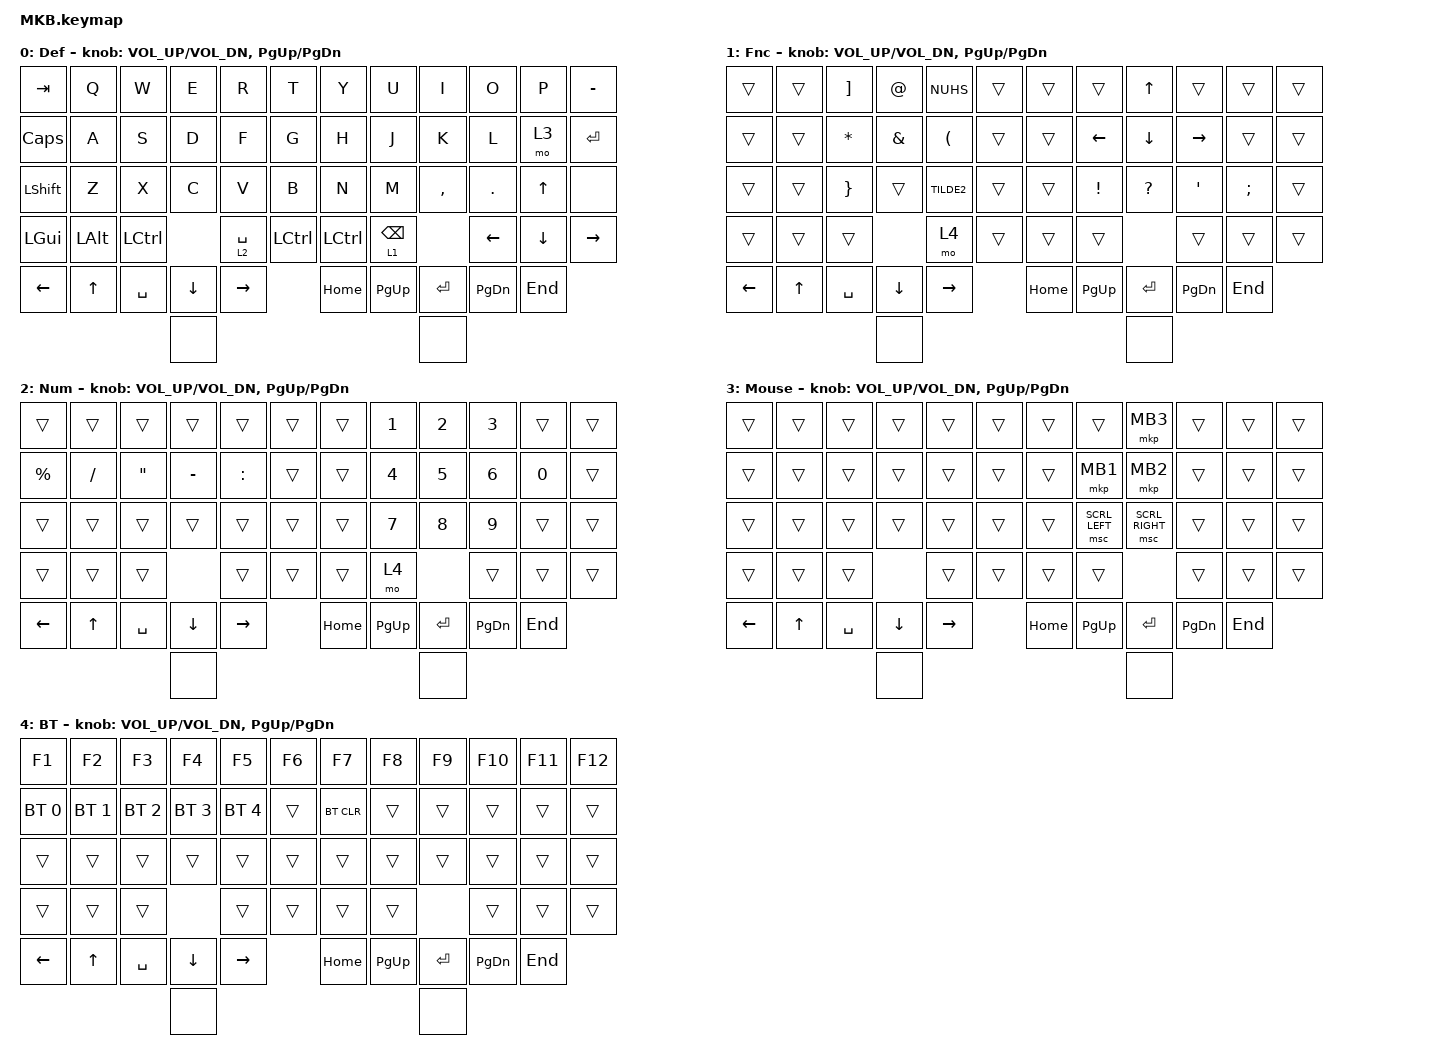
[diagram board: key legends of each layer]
// #include <layout_shift.dtsi>

#include <behaviors.dtsi>
#include <dt-bindings/zmk/bt.h>
#include <dt-bindings/zmk/keys.h>
#include <dt-bindings/zmk/pointing.h>
#include <layout_shift_kp_override.dtsi>

#define DEF 0
#define FUNC 1
#define NUM 2
#define MOUSE 3
#define BT 4



// 特殊入力の挙動を調整できる

&mt {
    flavor = "tap-preferred";
    tapping-term-ms = <225>;
    quick-tap-ms = <200>;
    require-prior-idle-ms = <150>;
};

&lt {
    flavor = "balanced";
    tapping-term-ms = <175>;
    quick-tap-ms = <200>;
};

&sk {
};

&sl {
};

&caps_word {
};

&key_repeat {
};

/ {
    keymap {
        compatible = "zmk,keymap";

        default_layer {
            label = "Def";
            bindings = <
&kp TAB     &kp Q     &kp W      &kp E      &kp R         &kp T            &kp Y       &kp U       &kp I      &kp O      &kp P     &kp MINUS
&kp CAPS    &kp A     &kp S      &kp D      &kp F         &kp G            &kp H       &kp J       &kp K      &kp L      &mo 3     &kp ENTER
&kp LSHFT   &kp Z     &kp X      &kp C      &kp V         &kp B            &kp N       &kp M       &kp COMMA  &kp DOT    &kp UP    &none
&kp LGUI    &kp LALT  &kp LCTRL             &lt 2 SPACE   &kp LCTRL        &kp LCTRL   &lt 1 BKSP             &kp LEFT   &kp DOWN  &kp RIGHT
&kp LEFT    &kp UP   &kp SPACE   &kp DOWN   &kp RIGHT                      &kp HOME    &kp PG_UP   &kp ENTER  &kp PG_DN  &kp END
                                 &none                                                             &none
            >;

            sensor-bindings = <&inc_dec_kp C_VOL_UP C_VOL_DN &inc_dec_kp PG_UP PG_DN>;
        };

        function_layer {
            label = "Fnc";
            bindings = <
&trans     &trans   &kp RBKT    &kp AT     &kp NUHS     &trans        &trans   &trans     &kp UP      &trans     &trans     &trans
&trans     &trans   &kp STAR    &kp AMPS   &kp LPAR     &trans        &trans   &kp LEFT   &kp DOWN    &kp RIGHT  &trans     &trans
&trans     &trans   &kp RBRC    &trans     &kp TILDE2   &trans        &trans   &kp EXCL   &kp QMARK   &kp SQT    &kp SEMI   &trans
&trans     &trans   &trans                 &mo 4        &trans        &trans   &trans                 &trans     &trans     &trans
&kp LEFT   &kp UP   &kp SPACE   &kp DOWN   &kp RIGHT                           &kp HOME   &kp PG_UP   &kp ENTER  &kp PG_DN  &kp END
                                &none                                                     &none
            >;

            sensor-bindings = <&inc_dec_kp C_VOL_UP C_VOL_DN &inc_dec_kp PG_UP PG_DN>;
        };

        num_layer {
            label = "Num";
            bindings = <
&trans     &trans    &trans     &trans     &trans     &trans        &trans    &kp N1     &kp N2     &kp N3     &trans     &trans
&kp PRCNT  &kp FSLH  &kp DQT    &kp MINUS  &kp COLON  &trans        &trans    &kp N4     &kp N5     &kp N6     &kp N0     &trans
&trans     &trans    &trans     &trans     &trans     &trans        &trans    &kp N7     &kp N8     &kp N9     &trans     &trans
&trans     &trans    &trans                &trans     &trans        &trans    &mo 4                 &trans     &trans     &trans
&kp LEFT   &kp UP    &kp SPACE  &kp DOWN   &kp RIGHT                          &kp HOME   &kp PG_UP  &kp ENTER  &kp PG_DN  &kp END
                                &none                                                    &none
            >;

            sensor-bindings = <&inc_dec_kp C_VOL_UP C_VOL_DN &inc_dec_kp PG_UP PG_DN>;
        };

        mouse_layer {
            label = "Mouse";
            bindings = <
&trans    &trans  &trans     &trans    &trans     &trans       &trans    &trans          &mkp MB3         &trans     &trans     &trans
&trans    &trans  &trans     &trans    &trans     &trans       &trans    &mkp MB1        &mkp MB2         &trans     &trans     &trans
&trans    &trans  &trans     &trans    &trans     &trans       &trans    &msc SCRL_LEFT  &msc SCRL_RIGHT  &trans     &trans     &trans
&trans    &trans  &trans               &trans     &trans       &trans    &trans                           &trans     &trans     &trans
&kp LEFT  &kp UP  &kp SPACE  &kp DOWN  &kp RIGHT                         &kp HOME        &kp PG_UP        &kp ENTER  &kp PG_DN  &kp END
                             &none                                                       &none
            >;

            sensor-bindings = <&inc_dec_kp C_VOL_UP C_VOL_DN &inc_dec_kp PG_UP PG_DN>;
        };

        bt_layer {
            label = "BT";
            bindings = <
&kp F1        &kp F2        &kp F3        &kp F4        &kp F5         &kp F6        &kp F7        &kp F8    &kp F9     &kp F10    &kp F11    &kp F12
&bt BT_SEL 0  &bt BT_SEL 1  &bt BT_SEL 2  &bt BT_SEL 3  &bt BT_SEL 4   &trans        &bt BT_CLR    &trans    &trans     &trans     &trans     &trans
&trans        &trans        &trans        &trans        &trans         &trans        &trans        &trans    &trans     &trans     &trans     &trans
&trans        &trans        &trans                      &trans         &trans        &trans        &trans               &trans     &trans     &trans
&kp LEFT      &kp UP        &kp SPACE     &kp DOWN      &kp RIGHT                                  &kp HOME  &kp PG_UP  &kp ENTER  &kp PG_DN  &kp END
                                          &none                                                              &none
            >;

            sensor-bindings = <&inc_dec_kp C_VOL_UP C_VOL_DN &inc_dec_kp PG_UP PG_DN>;
        };
    };
};
